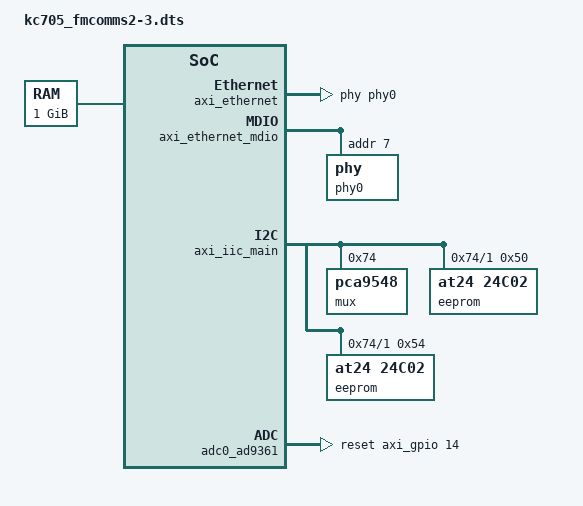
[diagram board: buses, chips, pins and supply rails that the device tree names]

/dts-v1/;
/include/ "kc705_fmcomms2-3_pl.dtsi"
/ {
	chosen {
		bootargs = "console=ttyUL0,115200";
		linux,stdout-path = &axi_uart;
		stdout-path = &axi_uart;
	};
	aliases {
		ethernet0 = &axi_ethernet;
		i2c0 = &axi_iic_main;
		serial0 = &axi_uart;
		serial1 = &sys_mb_debug;
		spi0 = &axi_spi;
	};
	memory {
		device_type = "memory";
		reg = <0x80000000 0x40000000>;
	};
};
&axi_ethernet {
	local-mac-address = [00 0a 35 00 00 02];
	phy-handle = <&phy0>;
};

&axi_ethernet_mdio {
	phy0: phy@7 {
		device_type = "ethernet-phy";
		reg = <7>;
	};
};

&axi_ad9361 {
	dmas = <&axi_ad9361_adc_dma 0>;
	dma-names = "rx";
	spibus-connected = <&adc0_ad9361>;
};

&axi_ad9361_dac_core_0 {
	clocks = <&adc0_ad9361 13>;
	clock-names = "sampl_clk";
	dmas = <&axi_ad9361_dac_dma 0>;
	dma-names = "tx";
};

&axi_ad9361_adc_dma {
	#dma-cells = <1>;
	clocks = <&clk_bus_0>;

	dma-channel {
		adi,buswidth = <64>;
		adi,type = <0>;
	};
};

&axi_ad9361_dac_dma {
	#dma-cells = <1>;
	clocks = <&clk_bus_0>;

	dma-channel {
		adi,buswidth = <64>;
		adi,type = <1>;
		adi,cyclic;
	};
};

&axi_iic_main {
	mux@74 {
		#address-cells = <1>;
		#size-cells = <0>;
		compatible = "pca9548";
		reg = <0x74>;

		mux1: i2c@1 { /* HPC */
			#size-cells = <0>;
			#address-cells = <1>;
			reg = <1>;
			eeprom@50 {
				compatible = "at24,24c02";
				reg = <0x50>;
			};

			eeprom@54 {
				compatible = "at24,24c02";
				reg = <0x54>;
			};
		};

		fmc_i2c: i2c@2 { /* LPC */
			#size-cells = <0>;
			#address-cells = <1>;
			reg = <2>;
		};
	};
};

&axi_linear_flash {
	#address-cells = <1>;
	#size-cells = <1>;
	partition@0x00000000 {
		label = "fpga";
		reg = <0x00000000 0x1380000>;
	};
	partition@0x01380000 {
		label = "boot";
		reg = <0x01380000 0x80000>;
	};
	partition@0x01400000 {
		label = "bootenv";
		reg = <0x01400000 0x40000>;
	};
	partition@0x01440000 {
		label = "image";
		reg = <0x01440000 0xBC0000>;
	};
};

#define fmc_spi axi_spi
#include "adi-fmcomms2.dtsi"

&adc0_ad9361 {
	en_agc-gpios = <&axi_gpio 12 8>;
	sync-gpios = <&axi_gpio 13 8>;
	reset-gpios = <&axi_gpio 14 8>;
	enable-gpios = <&axi_gpio 15 8>;
	txnrx-gpios = <&axi_gpio 16 8>;
};
